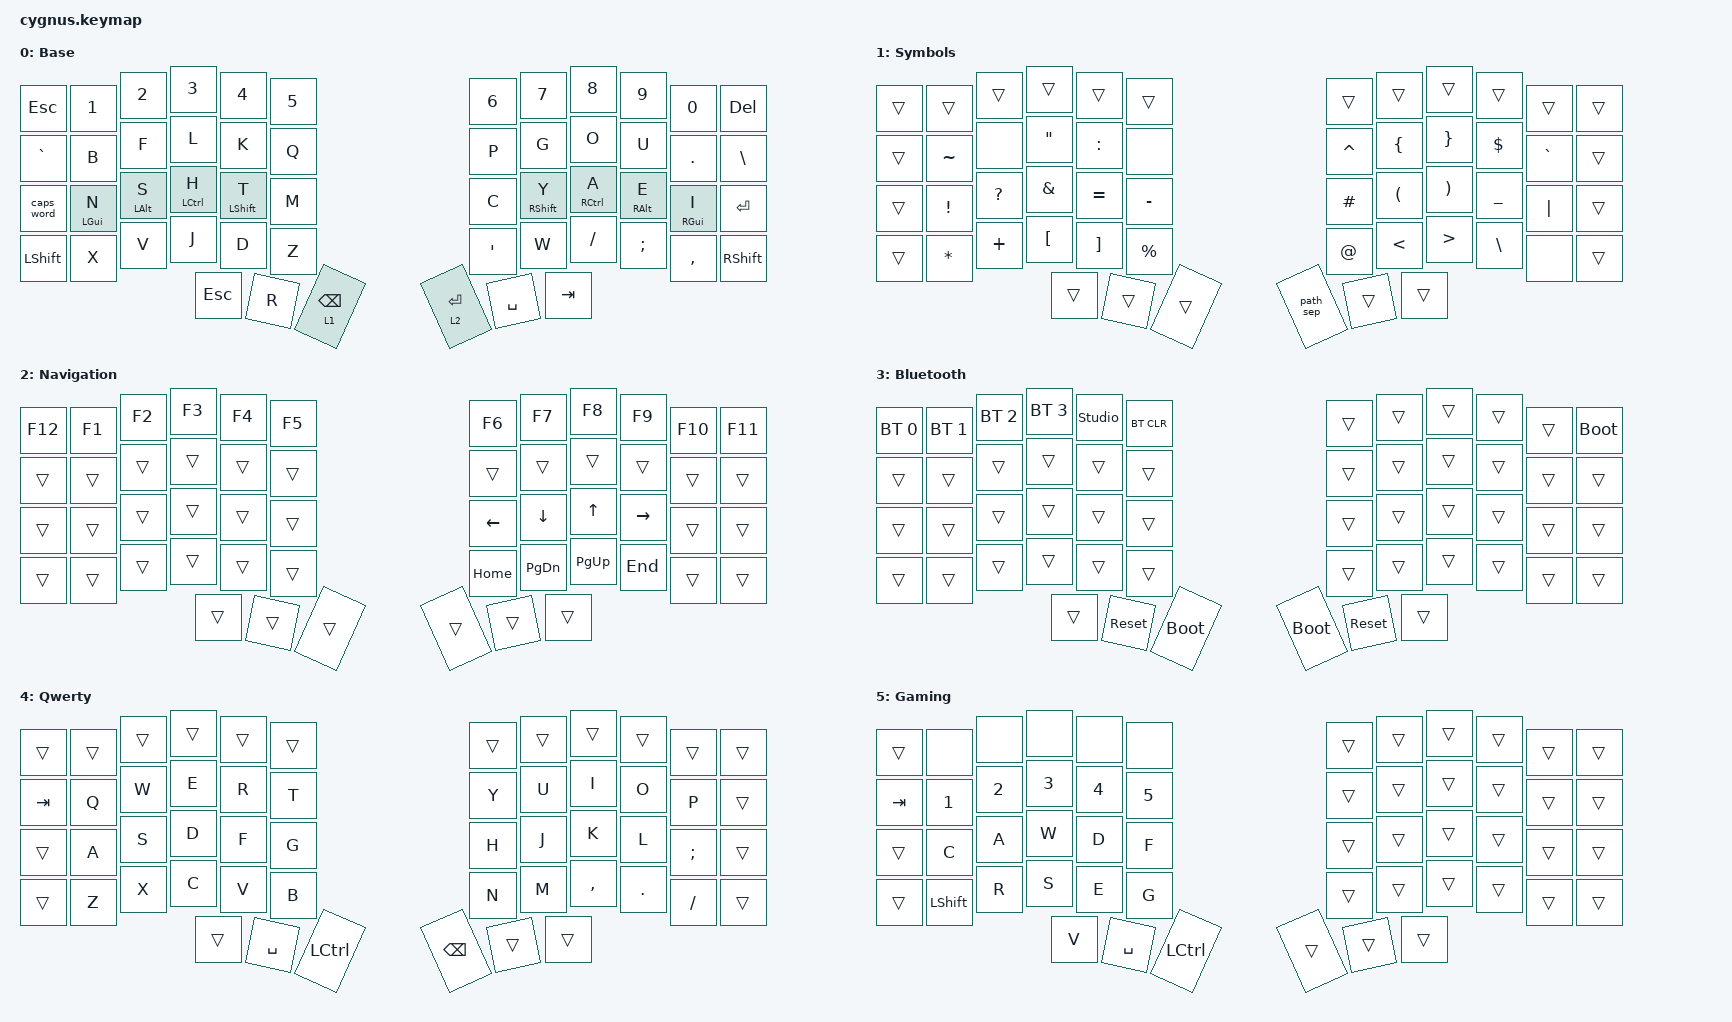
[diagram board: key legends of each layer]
#include <behaviors.dtsi>
#include <dt-bindings/zmk/bt.h>
#include <dt-bindings/zmk/keys.h>

&lt { quick-tap-ms = <220>; };

// Shared by both hands' home row mods
#define HOME_ROW_MOD_TIMING \
    tapping-term-ms = <180>; \
    quick-tap-ms = <175>; \
    require-prior-idle-ms = <150>; \
    flavor = "balanced"; \
    hold-trigger-on-release;

/ {
    combos {
        compatible = "zmk,combos";

        bluetooth {
            bindings = <&mo 3>;
            key-positions = <41 36>;
            layers = <0 4>;
        };

        qwerty {
            bindings = <&tog 4>;
            key-positions = <48 53>;
        };

        bluetooth_2 {
            bindings = <&mo 3>;
            key-positions = <42 47>;
            layers = <0 4>;
        };

        gaming {
            bindings = <&tog 5>;
            key-positions = <36 47>;
        };
    };

    behaviors {
        hml: hml {
            compatible = "zmk,behavior-hold-tap";
            bindings = <&kp>, <&kp>;
            #binding-cells = <2>;
            hold-trigger-key-positions = <6 7 8 9 10 11 18 19 20 21 22 23 30 31 32 33 34 35 42 43 44 45 46 47>;
            HOME_ROW_MOD_TIMING
        };

        hmr: hmr {
            compatible = "zmk,behavior-hold-tap";
            bindings = <&kp>, <&kp>;
            #binding-cells = <2>;
            hold-trigger-key-positions = <0 1 2 3 4 5 12 13 14 15 16 17 24 25 26 27 28 29 36 37 38 39 40 41>;
            HOME_ROW_MOD_TIMING
        };
    };

    macros {
        path_sep: path_sep {
            compatible = "zmk,behavior-macro";
            display-name = "::";
            #binding-cells = <0>;
            bindings = <&kp COLON &kp COLON>;
        };
    };

    keymap {
        compatible = "zmk,keymap";

        default_layer {
            display-name = "Base";
            bindings = <
&kp ESC         &kp N1           &kp N2           &kp N3               &kp N4             &kp N5             &kp N6       &kp N7              &kp N8                &kp N9            &kp N0            &kp DEL
&kp GRAVE       &kp B            &kp F            &kp L                &kp K              &kp Q              &kp P        &kp G               &kp O                 &kp U             &kp DOT           &kp BACKSLASH
&caps_word     &hml LEFT_GUI N  &hml LEFT_ALT S  &hml LEFT_CONTROL H  &hml LEFT_SHIFT T  &kp M              &kp C        &hmr RIGHT_SHIFT Y  &hmr RIGHT_CONTROL A  &hmr RIGHT_ALT E  &hmr RIGHT_GUI I  &kp ENTER
&kp LEFT_SHIFT  &kp X            &kp V            &kp J                &kp D              &kp Z              &kp SQT      &kp W               &kp SLASH             &kp SEMI          &kp COMMA         &kp RIGHT_SHIFT
                                                  &kp ESC              &kp R              &lt 1 BACKSPACE    &lt 2 ENTER  &kp SPACE           &kp TAB
            >;
        };

        symbols {
            display-name = "Symbols";
            bindings = <
&trans  &trans           &trans         &trans            &trans     &trans           &trans       &trans                &trans                 &trans          &trans     &trans
&trans  &kp TILDE        &none          &kp DQT           &kp COLON  &none            &kp CARET    &kp LEFT_BRACE        &kp RIGHT_BRACE        &kp DOLLAR      &kp GRAVE  &trans
&trans  &kp EXCLAMATION  &kp QUESTION   &kp AMPERSAND     &kp EQUAL  &kp MINUS        &kp POUND    &kp LEFT_PARENTHESIS  &kp RIGHT_PARENTHESIS  &kp UNDERSCORE  &kp PIPE   &trans
&trans  &kp ASTERISK     &kp PLUS       &kp LBKT          &kp RBKT   &kp PERCENT      &kp AT_SIGN  &kp LESS_THAN         &kp GREATER_THAN       &kp BSLH        &none      &trans
                                        &trans            &trans     &trans           &path_sep    &trans                &trans
            >;
        };

        navigation {
            display-name = "Navigation";
            bindings = <
&kp F12  &kp F1  &kp F2  &kp F3  &kp F4  &kp F5    &kp F6    &kp F7     &kp F8     &kp F9     &kp F10  &kp F11
&trans   &trans  &trans  &trans  &trans  &trans    &trans    &trans     &trans     &trans     &trans   &trans
&trans   &trans  &trans  &trans  &trans  &trans    &kp LEFT  &kp DOWN   &kp UP     &kp RIGHT  &trans   &trans
&trans   &trans  &trans  &trans  &trans  &trans    &kp HOME  &kp PG_DN  &kp PG_UP  &kp END    &trans   &trans
                         &trans  &trans  &trans    &trans    &trans     &trans
            >;
        };

        bluetooth {
            display-name = "Bluetooth";
            bindings = <
&bt BT_SEL 0  &bt BT_SEL 1  &bt BT_SEL 2    &bt BT_SEL 3    &studio_unlock   &bt BT_CLR     &trans       &trans      &trans  &trans  &trans  &bootloader
&trans        &trans        &trans          &trans          &trans           &trans         &trans       &trans      &trans  &trans  &trans  &trans
&trans        &trans        &trans          &trans          &trans           &trans         &trans       &trans      &trans  &trans  &trans  &trans
&trans        &trans        &trans          &trans          &trans           &trans         &trans       &trans      &trans  &trans  &trans  &trans
                                            &trans          &sys_reset       &bootloader    &bootloader  &sys_reset  &trans
            >;
        };

        qwerty {
            display-name = "Qwerty";
            bindings = <
&trans   &trans  &trans  &trans  &trans     &trans       &trans    &trans  &trans     &trans   &trans    &trans
&kp TAB  &kp Q   &kp W   &kp E   &kp R      &kp T        &kp Y     &kp U   &kp I      &kp O    &kp P     &trans
&trans   &kp A   &kp S   &kp D   &kp F      &kp G        &kp H     &kp J   &kp K      &kp L    &kp SEMI  &trans
&trans   &kp Z   &kp X   &kp C   &kp V      &kp B        &kp N     &kp M   &kp COMMA  &kp DOT  &kp FSLH  &trans
                         &trans  &kp SPACE  &kp LCTRL    &kp BSPC  &trans  &trans
            >;
        };

        gaming {
            display-name = "Gaming";
            bindings = <
&trans   &none      &none   &none   &none      &none        &trans  &trans  &trans  &trans  &trans  &trans
&kp TAB  &kp N1     &kp N2  &kp N3  &kp N4     &kp N5       &trans  &trans  &trans  &trans  &trans  &trans
&trans   &kp C      &kp A   &kp W   &kp D      &kp F        &trans  &trans  &trans  &trans  &trans  &trans
&trans   &kp LSHFT  &kp R   &kp S   &kp E      &kp G        &trans  &trans  &trans  &trans  &trans  &trans
                            &kp V   &kp SPACE  &kp LCTRL    &trans  &trans  &trans
            >;
        };
    };
};
